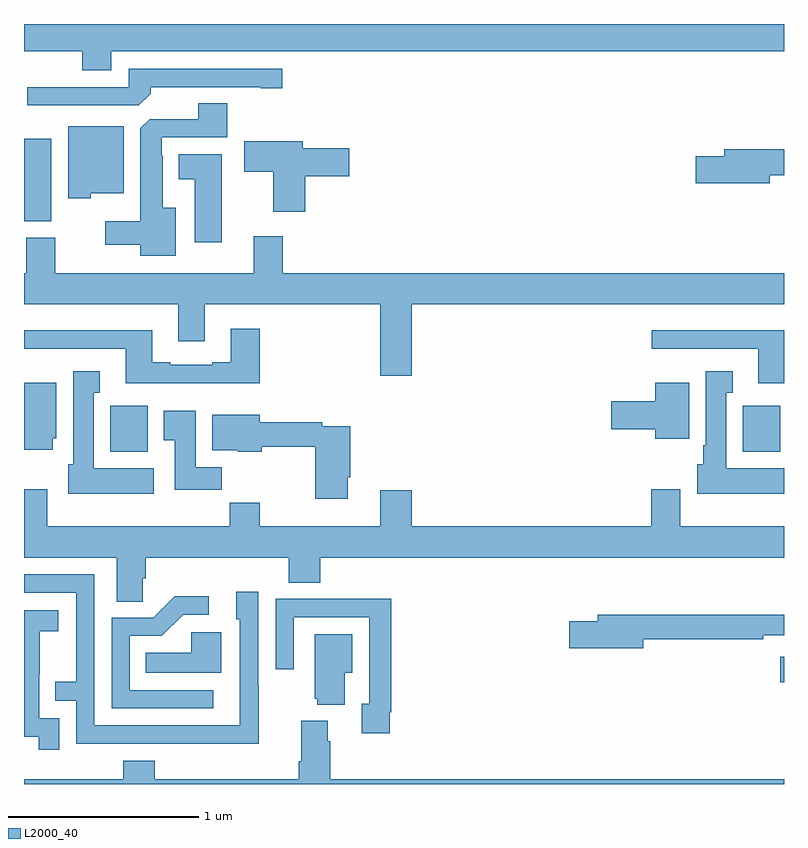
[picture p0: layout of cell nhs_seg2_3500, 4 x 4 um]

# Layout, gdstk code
import gdstk
lib = gdstk.Library(unit=1e-6, precision=1e-09)
def R(c, l, rs):  # rectangles x0, y0, x1, y1
    for r in rs: c.add(gdstk.rectangle(r[:2], r[2:], *l))
def P(c, l, *ps):  # polygons
    for p in ps: c.add(gdstk.Polygon(p, *l))
L2000_40 = (2000, 40)

nhs_seg2_3500 = lib.new_cell('nhs_seg2_3500')
R(nhs_seg2_3500, L2000_40, [(298.98,624.335,299,624.469), (295.454,625.55,295.651,625.792), (298.784,625.55,298.981,625.792), (295,626.761,295.144,627.196)])
P(nhs_seg2_3500, L2000_40, [(295.459,627.656),(299,627.656),(299,627.8),(295,627.8),(295,627.656),(295.307,627.656),(295.307,627.557),(295.459,627.557)],
  [(295.667,627.434),(295.667,627.468),(296.246,627.468),(296.246,627.463),(296.359,627.463),(296.359,627.564),(295.551,627.564),(295.551,627.468),(295.017,627.468),(295.017,627.372),(295.605,627.372)],
  [(295.798,626.833),(295.729,626.833),(295.729,627.107),(295.725,627.107),(295.725,627.204),(296.069,627.204),(296.069,627.383),(295.916,627.383),(295.916,627.3),(295.662,627.3),(295.613,627.251),(295.613,626.761),(295.428,626.761),(295.428,626.639),(295.613,626.639),(295.613,626.579),(295.798,626.579)],
  [(295.35,626.909),(295.525,626.909),(295.525,627.262),(295.232,627.262),(295.232,626.882),(295.35,626.882)],
  [(296.48,626.999),(296.713,626.999),(296.713,627.146),(296.467,627.146),(296.467,627.184),(296.16,627.184),(296.16,627.022),(296.312,627.022),(296.312,626.811),(296.48,626.811)],
  [(298.924,627.004),(299,627.004),(299,627.14),(298.685,627.14),(298.685,627.104),(298.536,627.104),(298.536,626.962),(298.924,626.962)],
  [(296.041,627.115),(295.814,627.115),(295.814,626.984),(295.898,626.984),(295.898,626.652),(296.041,626.652)],
  [(296.363,626.683),(296.21,626.683),(296.21,626.488),(295.165,626.488),(295.165,626.676),(295.013,626.676),(295.013,626.488),(295,626.488),(295,626.324),(295.811,626.324),(295.811,626.13),(295.951,626.13),(295.951,626.324),(296.876,626.324),(296.876,625.95),(297.04,625.95),(297.04,626.324),(299,626.324),(299,626.488),(296.363,626.488)],
  [(296.24,626.197),(296.087,626.197),(296.087,626.02),(295.991,626.02),(295.991,626.007),(295.771,626.007),(295.771,626.02),(295.675,626.02),(295.675,626.188),(295,626.188),(295,626.091),(295.535,626.091),(295.535,625.91),(296.24,625.91)],
  [(299,626.188),(298.305,626.188),(298.305,626.091),(298.865,626.091),(298.865,625.91),(299,625.91)],
  [(295.684,625.462),(295.366,625.462),(295.366,625.859),(295.399,625.859),(295.399,625.972),(295.259,625.972),(295.259,625.482),(295.232,625.482),(295.232,625.328),(295.684,625.328)],
  [(299,625.462),(298.696,625.462),(298.696,625.859),(298.729,625.859),(298.729,625.972),(298.589,625.972),(298.589,625.582),(298.574,625.582),(298.574,625.482),(298.544,625.482),(298.544,625.328),(299,625.328)],
  [(298.501,625.912),(298.322,625.912),(298.322,625.814),(298.092,625.814),(298.092,625.667),(298.322,625.667),(298.322,625.616),(298.501,625.616)],
  [(295.15,625.62),(295.171,625.62),(295.171,625.912),(295,625.912),(295,625.56),(295.15,625.56)],
  [(296.042,625.468),(295.903,625.468),(295.903,625.765),(295.736,625.765),(295.736,625.609),(295.793,625.609),(295.793,625.35),(296.042,625.35)],
  [(296.704,625.414),(296.717,625.414),(296.717,625.683),(296.57,625.683),(296.57,625.703),(296.242,625.703),(296.242,625.744),(295.991,625.744),(295.991,625.556),(296.124,625.556),(296.124,625.55),(296.25,625.55),(296.25,625.575),(296.534,625.575),(296.534,625.302),(296.704,625.302)],
  [(296.393,624.859),(296.558,624.859),(296.558,624.992),(299,624.992),(299,625.156),(298.453,625.156),(298.453,625.351),(298.301,625.351),(298.301,625.156),(297.04,625.156),(297.04,625.345),(296.876,625.345),(296.876,625.156),(296.24,625.156),(296.24,625.28),(296.083,625.28),(296.083,625.156),(295.123,625.156),(295.123,625.351),(295,625.351),(295,624.992),(295.487,624.992),(295.487,624.76),(295.626,624.76),(295.626,624.883),(295.64,624.883),(295.64,624.992),(296.393,624.992)],
  [(296.235,624.317),(296.232,624.317),(296.232,624.811),(296.117,624.811),(296.117,624.666),(296.136,624.666),(296.136,624.359),(296.135,624.359),(296.135,624.108),(295.371,624.108),(295.371,624.903),(295,624.903),(295,624.807),(295.275,624.807),(295.275,624.338),(295.165,624.338),(295.165,624.237),(295.275,624.237),(295.275,624.012),(295.771,624.012),(295.771,624.011),(296.235,624.011)],
  [(295.996,624.294),(295.557,624.294),(295.557,624.579),(295.726,624.579),(295.837,624.69),(295.972,624.69),(295.972,624.788),(295.793,624.788),(295.68,624.675),(295.461,624.675),(295.461,624.198),(295.996,624.198)],
  [(296.926,624.178),(296.933,624.178),(296.933,624.776),(296.641,624.776),(296.641,624.774),(296.325,624.774),(296.325,624.405),(296.421,624.405),(296.421,624.678),(296.817,624.678),(296.817,624.222),(296.777,624.222),(296.777,624.066),(296.926,624.066)],
  [(295.185,624.147),(295.08,624.147),(295.08,624.377),(295.082,624.377),(295.082,624.605),(295.18,624.605),(295.18,624.715),(295,624.715),(295,624.049),(295.077,624.049),(295.077,623.979),(295.185,623.979)],
  [(298.258,624.562),(298.892,624.562),(298.892,624.582),(299,624.582),(299,624.691),(298.019,624.691),(298.019,624.657),(297.87,624.657),(297.87,624.515),(298.258,624.515)],
  [(296.038,624.598),(295.881,624.598),(295.881,624.49),(295.642,624.49),(295.642,624.386),(296.038,624.386)],
  [(296.689,624.386),(296.728,624.386),(296.728,624.589),(296.531,624.589),(296.531,624.249),(296.543,624.249),(296.543,624.218),(296.689,624.218)],
  [(299,623.824),(296.612,623.824),(296.612,624.026),(296.599,624.026),(296.599,624.133),(296.459,624.133),(296.459,623.92),(296.447,623.92),(296.447,623.824),(295.688,623.824),(295.688,623.923),(295.523,623.923),(295.523,623.824),(295,623.824),(295,623.8),(299,623.8)])

lib.write_gds('nhs_seg2_3500.gds')
